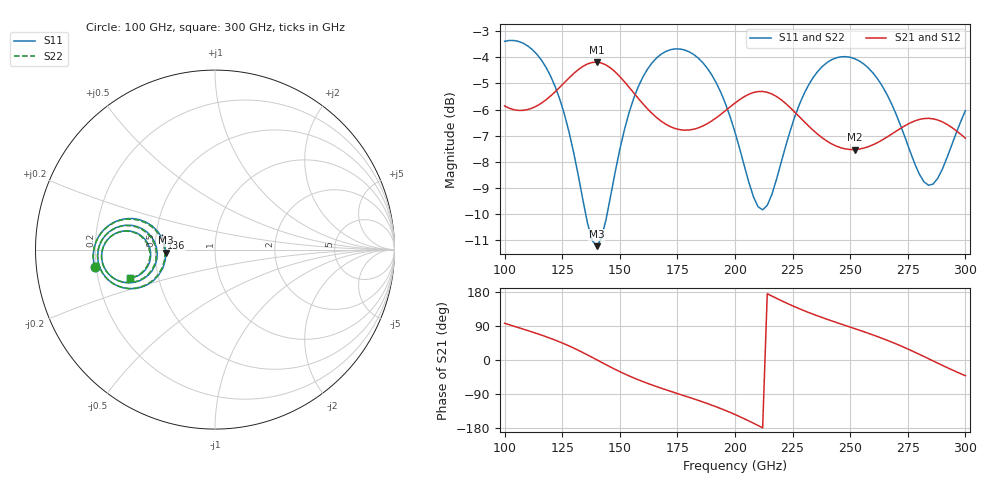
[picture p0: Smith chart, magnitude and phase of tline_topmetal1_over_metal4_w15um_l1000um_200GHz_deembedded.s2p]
! Created with skrf 2.2.0 (http://scikit-rf.org).
# GHz S DB R 50.0
! Port[1] = P1
! Port[2] = P2
!freq dBS11 angS11 dBS21 angS21 dBS12 angS12 dBS22 angS22
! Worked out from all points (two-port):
!   101 points, 100 GHz to 300 GHz, reference 50 ohm
!   highest |S21| = -4.19 dB at 140 GHz (marker M1); lowest = -7.5 dB at 252 GHz (marker M2)
!   |S21| within 3 dB of the highest: start of sweep to 239.6 GHz; 263.4 GHz to end of sweep
!   lowest |S11| = -11.2 dB at 140 GHz (marker M3), VSWR 1.76, Z = 28.5 - j1.08 ohm
!   |S11| at or under -10 dB: 135.2 GHz to 144.5 GHz (9.276 GHz wide, 6.63 % of centre)
!   |S22| runs from -11.1 to -3.4 dB; largest |S21 - S12| = 6.2e-14
!   S11 on the Smith chart (normalised r, x): 100 GHz: 0.19, -0.07; 136 GHz: 0.54, +0.08; 300 GHz: 0.34, -0.15
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100  -3.39 -171.8  -5.86 96.9  -5.86 96.9  -3.38 -171.6
110  -3.56 176.0  -6.00 77.8  -6.00 77.8  -3.55 176.3
122  -5.13 162.6  -5.32 52.3  -5.32 52.3  -5.11 163.0
128  -6.87 158.4  -4.79 37.0  -4.79 37.0  -6.83 158.9
134  -9.47 162.2  -4.35 19.6  -4.35 19.6  -9.38 162.8
136  -10.35 167.2  -4.25 13.4  -4.25 13.4  -10.23 167.8
140  -11.23 -176.4  -4.19 0.6  -4.19 0.6  -11.08 -176.2
146  -9.32 -155.9  -4.41 -18.6  -4.41 -18.6  -9.22 -156.2
152  -6.77 -152.9  -4.93 -36.4  -4.93 -36.4  -6.73 -153.2
158  -5.13 -157.4  -5.57 -52.1  -5.57 -52.1  -5.10 -157.6
168  -3.88 -168.3  -6.45 -74.5  -6.45 -74.5  -3.86 -168.3
184  -4.03 174.7  -6.70 -106.5  -6.70 -106.5  -4.01 174.8
200  -6.87 163.5  -5.75 -143.9  -5.75 -143.9  -6.82 163.9
208  -9.34 172.3  -5.35 -166.8  -5.35 -166.8  -9.23 172.6
214  -9.67 -170.4  -5.34 174.9  -5.34 174.9  -9.55 -170.5
224  -6.80 -157.6  -5.93 145.7  -5.93 145.7  -6.75 -157.9
234  -4.77 -163.3  -6.80 120.6  -6.80 120.6  -4.74 -163.4
252  -4.06 180.0  -7.53 82.7  -7.53 82.7  -4.04 -180.0
268  -5.79 168.3  -6.94 47.3  -6.94 47.3  -5.75 168.5
284  -8.90 -177.7  -6.34 3.4  -6.34 3.4  -8.80 -177.6
292  -7.84 -163.7  -6.57 -19.9  -6.57 -19.9  -7.76 -163.9
300  -6.04 -161.4  -7.10 -41.4  -7.10 -41.4  -5.99 -161.6
